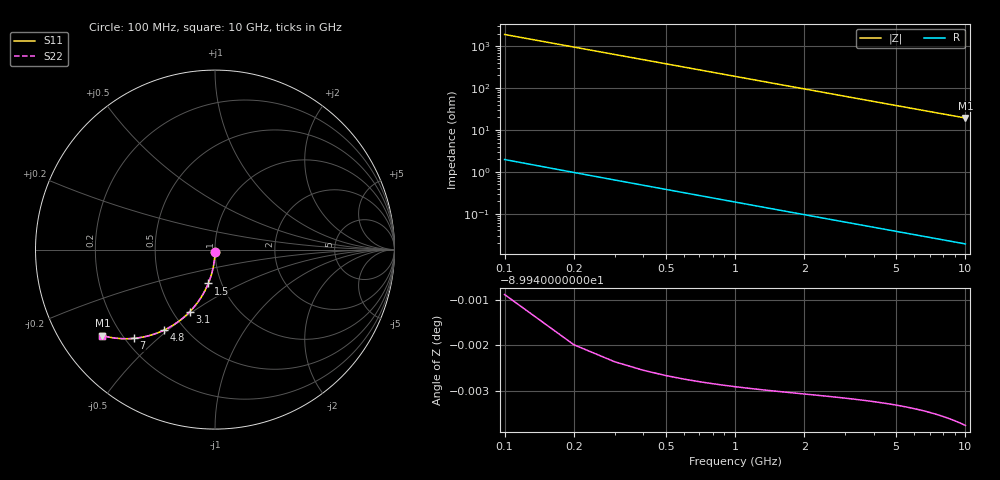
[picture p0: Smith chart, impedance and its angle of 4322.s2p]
# Hz S RI R 50.00
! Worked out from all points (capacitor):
!   100 points, 100 MHz to 10 GHz, reference 50 ohm
!   read as one part in shunt: C = 834 fF near 100 MHz
!   lowest |Z| = 19.3 ohm at 10 GHz (marker M1)
!   S11 on the Smith chart (normalised r, x): 100 MHz: 1.00, -0.03; 1.5 GHz: 0.87, -0.34; 3.1 GHz: 0.60, -0.49; 4.8 GHz: 0.39, -0.49; 7 GHz: 0.23, -0.42; 10 GHz: 0.13, -0.33
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1e8  -0.000174 -0.0131  0.9998 -0.0131  0.9998 -0.0131  -0.000174 -0.0131
2e8  -0.000702 -0.0261  0.9993 -0.0263  0.9993 -0.0263  -0.000702 -0.0261
3e8  -0.00157 -0.0391  0.9984 -0.0394  0.9984 -0.0394  -0.00157 -0.0391
4e8  -0.00278 -0.0521  0.9972 -0.0524  0.9972 -0.0524  -0.00278 -0.0521
5e8  -0.00433 -0.065  0.9957 -0.0654  0.9957 -0.0654  -0.00433 -0.065
6e8  -0.00621 -0.0779  0.9938 -0.0783  0.9938 -0.0783  -0.00621 -0.0779
7e8  -0.00842 -0.0907  0.9916 -0.0912  0.9916 -0.0912  -0.00842 -0.0907
9e8  -0.0138 -0.1159  0.9862 -0.1166  0.9862 -0.1166  -0.0138 -0.1159
1.2e9  -0.0242 -0.1529  0.9757 -0.1538  0.9757 -0.1538  -0.0242 -0.1529
1.5e9  -0.0373 -0.1885  0.9627 -0.1896  0.9627 -0.1896  -0.0373 -0.1885
1.8e9  -0.0528 -0.2224  0.9472 -0.2238  0.9472 -0.2238  -0.0528 -0.2224
2.4e9  -0.0899 -0.2847  0.91 -0.2865  0.91 -0.2865  -0.0899 -0.2847
3.1e9  -0.1413 -0.3466  0.8587 -0.349  0.8587 -0.349  -0.1413 -0.3466
3.4e9  -0.1651 -0.3695  0.8349 -0.3721  0.8349 -0.3721  -0.1651 -0.3695
4.1e9  -0.2229 -0.4142  0.777 -0.4173  0.777 -0.4173  -0.2229 -0.4142
4.8e9  -0.2819 -0.4476  0.7181 -0.4513  0.7181 -0.4513  -0.2819 -0.4476
5.1e9  -0.3069 -0.4587  0.6931 -0.4627  0.6931 -0.4627  -0.3069 -0.4587
5.9e9  -0.3716 -0.4805  0.6284 -0.485  0.6284 -0.485  -0.3716 -0.4805
6.7e9  -0.4322 -0.4923  0.5678 -0.4975  0.5678 -0.4975  -0.4322 -0.4923
7e9  -0.4536 -0.4946  0.5463 -0.5001  0.5463 -0.5001  -0.4536 -0.4946
8.4e9  -0.5439 -0.4943  0.4561 -0.5008  0.4561 -0.5008  -0.5439 -0.4943
1e10  -0.6276 -0.479  0.3723 -0.4869  0.3723 -0.4869  -0.6276 -0.479
